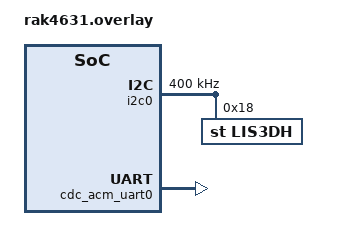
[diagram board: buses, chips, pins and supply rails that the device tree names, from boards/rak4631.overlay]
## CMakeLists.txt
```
# SPDX-License-Identifier: Apache-2.0

cmake_minimum_required(VERSION 3.20.0)
find_package(Zephyr REQUIRED HINTS $ENV{ZEPHYR_BASE})
project(neuton-rak1904)

include_directories(${CMAKE_CURRENT_SOURCE_DIR}/src/neuton-ai/neuton/include)
include_directories(${CMAKE_CURRENT_SOURCE_DIR}/src/neuton-ai)

target_sources(app PRIVATE src/main.c)

# Add neuton-ai project files
zephyr_include_directories(neuton-ai)
zephyr_include_directories(neuton-ai/neuton/include)
zephyr_link_libraries(${CMAKE_CURRENT_LIST_DIR}/neuton-ai/neuton/lib/libneuton_arm_cortex-m4.a)
```

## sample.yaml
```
sample:
  name: Neuton-AI
tests:
  sample.neuton_ai:
    platform_allow:
      - rak4631
      - rak11720
    tags: rak
    build_only: true
```

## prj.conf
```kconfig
CONFIG_STDOUT_CONSOLE=y
CONFIG_I2C=y
CONFIG_SENSOR=y
CONFIG_CBPRINTF_FP_SUPPORT=y
CONFIG_FPU=y
```

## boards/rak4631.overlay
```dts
/ {
	chosen {
		zephyr,console = &cdc_acm_uart0;
	};
};

&i2c0 {
	status = "okay";
	clock-frequency = <I2C_BITRATE_FAST>;
	lis3dh: lis3dh@18 {
		compatible = "st,lis3dh", "st,lis2dh";
		reg = <0x18>;
	};
};

&zephyr_udc0 {
	cdc_acm_uart0: cdc_acm_uart0 {
		compatible = "zephyr,cdc-acm-uart";
	};
};
```

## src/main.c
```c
/**
 * @file main.c
 * @author rakwireless.com
 * @brief This example shows how to use the RAK1904 and a Neuton AI model. The default model determins the orientation
 * of the board with the following classes (Note: RAK1904 is installed on the bottom side of the board (Slot D)):
 * 			Class 0 - board is sitting flat on the table
 * 			Class 1 - USB connector is facing up
 * 			Class 2 - board is upside down (bottom if facing up)
 * 			Class 3 - bottom edge of PCB is facing up (side with headers on the base board)
 * @note
 * 		1) The RUNTIME define determins if the code is running to gather data to train a model, or running the actual model
 * 				See the  MODELBUILD section for details on creating a model
 * 		2) The model downloaded from Neuton should be placed into the neuton-ai folder (copy and replace the two sub-folders)
 * 		3) The default model was created with a window size of 50 (which is probably much larger than needed!)
 *
 * @version 1.0
 * @date 2025-11-11
 *
 * @copyright Copyright (c) 2025
 *
 */

#include <zephyr/kernel.h>
#include <zephyr/device.h>
#include <zephyr/devicetree.h>
#include <zephyr/drivers/sensor.h>
#include <stdio.h>
#include <string.h>
#include <math.h>

#define RUNTIME // RUNTIME or MODELBUILD

/* MODELBUILD :
For model building you will need to save the output from the serial port to a file for
	each "motion" that the model will detect.

	1. Start moving the board in the desired motion, then run the command below
		For Linux/MacOS run the command below to save to a file (you will need to adjust to the correct port & filename):
			(stty speed 115200 >/dev/null && cat) </dev/cu.usbmodem101 | tee RAK1904_UP-DOWN.log
		For Windows:
			TBD

	2. Once you have each motion saved to a file append the class to each line of all files (see example model_data)

	3. combine all the files into a single file (see RAK1904_data.csv example)

	4. Upload this file to Neuton to create your model
*/

#if defined(RUNTIME)
#include <neuton/neuton.h>
#endif

#if !DT_HAS_COMPAT_STATUS_OKAY(st_lis3dh)
#error "No st,lis3dh compatible node found in the device tree"
#endif

int main(void)
{
	const struct device *const dev = DEVICE_DT_GET_ANY(st_lis3dh);
	int rc;

	printf("Check Device ready\n");
	if (!device_is_ready(dev)) {
		printf("Device %s is not ready :( \n", dev->name);
		return 0;
	}

#if defined(RUNTIME)
	/* Set-up Neuton */
	neuton_nn_setup();
	printf("Neuton input window size %d\n", neuton_nn_input_window_size());
	printf("neuton_nn_uniq_inputs_num %d\n", neuton_nn_uniq_inputs_num());
#endif

	while (1) {
		struct sensor_value accel[3];
		rc = sensor_sample_fetch(dev);
		if (rc == 0) {
			rc = sensor_channel_get(dev, SENSOR_CHAN_ACCEL_XYZ, accel);
		}

		if (rc != 0) {
			printf("RAK1904(LIS3DH): failed: %d\n", rc);
			break;
		}

#if defined(MODELBUILD)
		printk("%.2f,%.2f,%.2f\r\n", sensor_value_to_double(&accel[0]),
		       sensor_value_to_double(&accel[1]), sensor_value_to_double(&accel[2]));
#endif

#if defined(RUNTIME)
		neuton_input_t neuton_raw_inputs[] = {sensor_value_to_double(&accel[0]),
						      sensor_value_to_double(&accel[1]),
						      sensor_value_to_double(&accel[2])};

		/* Feed and prepare raw inputs for the model inference */
		neuton_input_features_t *p_input =
			neuton_nn_feed_inputs(neuton_raw_inputs, 3); // model expects 3 inputs

		/* Run inference */
		if (p_input) {
			neuton_u16_t predicted_target;
			const neuton_output_t *p_probabilities;
			/* Run Neuton model inference */
			neuton_i16_t targets_num = neuton_nn_run_inference(
				p_input, &predicted_target, &p_probabilities);
			if (targets_num > 0) {
				printf("Predicted target %d with probability %d\r\n",
				       predicted_target, p_probabilities[predicted_target]);
				/* Uncomment to show all the probabilities! */
				/*
				printf("\t");
				for (size_t i = 0; i < targets_num; i++)
				{
					printf("%d ",p_probabilities[i]);
				}
					printf("\r\n");
				*/
			}
		}
#endif
	}
	return 0;
}
```
